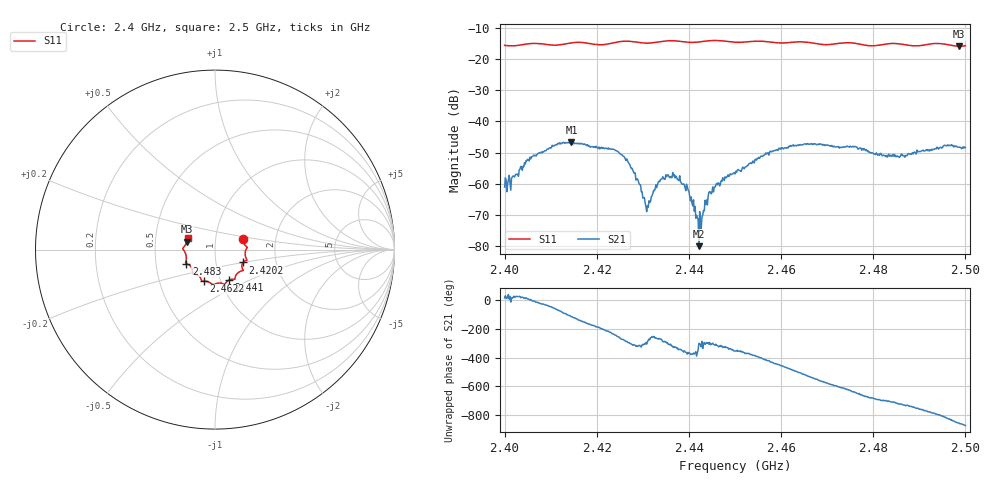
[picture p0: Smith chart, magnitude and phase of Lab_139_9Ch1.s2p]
# Hz S RI R 50
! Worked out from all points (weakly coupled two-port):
!   601 points, 2.4 GHz to 2.5 GHz, reference 50 ohm
!   highest |S21| = -46.71 dB at 2.4145 GHz (marker M1); lowest = -80.1 dB at 2.4422 GHz (marker M2)
!   lowest |S11| = -15.8 dB at 2.4987 GHz (marker M3), VSWR 1.39, Z = 36.4 + j3.29 ohm
!   |S11| at or under -10 dB: start of sweep to end of sweep
!   S12 and S22 are empty: the file has one direction only
!   S11 on the Smith chart (normalised r, x): 2.4 GHz: 1.36, +0.17; 2.4202 GHz: 1.35, -0.20; 2.441 GHz: 1.09, -0.39; 2.4622 GHz: 0.83, -0.30; 2.483 GHz: 0.72, -0.12; 2.5 GHz: 0.73, +0.09
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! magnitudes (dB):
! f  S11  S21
! 2.4 GHz  -15.5  -61.1
! 2.406 GHz  -14.9  -51.3
! 2.4145 GHz  -14.7  -46.7
! 2.4167 GHz  -14.6  -47.2
! 2.4202 GHz  -15.3  -48.4
! 2.424 GHz  -14.6  -49.3
! 2.4263 GHz  -14.2  -52.6
! 2.431 GHz  -14.8  -67.2
! 2.4333 GHz  -14.4  -59.5
! 2.437 GHz  -14.1  -58.2
! 2.4395 GHz  -14.5  -60.2
! 2.441 GHz  -14.6  -65.2
! 2.4422 GHz  -14.4  -80.1
! 2.4427 GHz  -14.3  -74.5
! 2.4447 GHz  -14.0  -62.7
! 2.45 GHz  -14.5  -56.9
! 2.4622 GHz  -14.6  -48.0
! 2.4667 GHz  -14.7  -47.2
! 2.483 GHz  -15.0  -51.5
! 2.4833 GHz  -15.0  -50.5
! 2.4987 GHz  -15.8  -48.3
! 2.5 GHz  -15.6  -48.4
